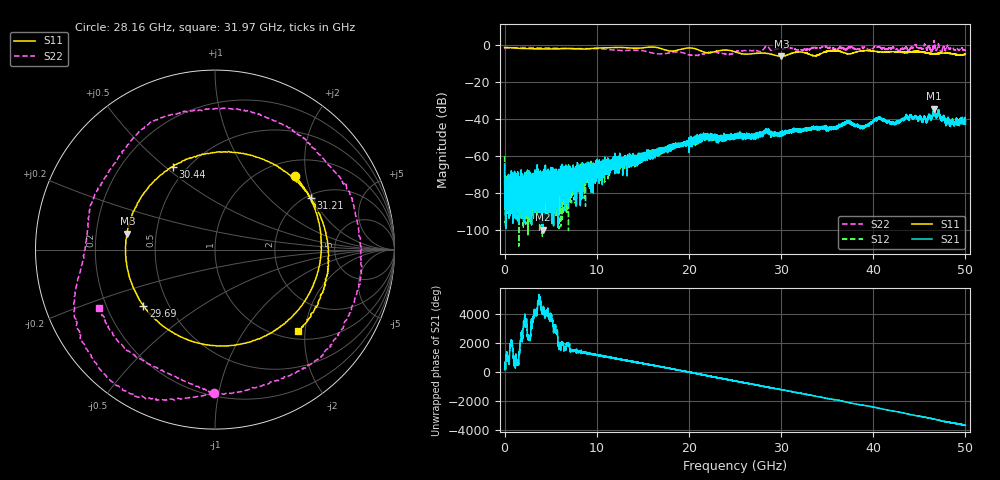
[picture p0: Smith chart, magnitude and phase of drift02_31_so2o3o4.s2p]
!Created with skrf (http://scikit-rf.org).
# Hz S RI R 50.0
!freq ReS11 ImS11 ReS21 ImS21 ReS12 ImS12 ReS22 ImS22
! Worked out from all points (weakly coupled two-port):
!   10001 points, 300 kHz to 50 GHz, reference 50 ohm
!   highest |S21| = -34.29 dB at 46.58 GHz (marker M1); lowest = -99.6 dB at 4.155 GHz (marker M2)
!   lowest |S11| = -6.1 dB at 30.04 GHz (marker M3), VSWR 2.97, Z = 16.9 + j4.02 ohm
!   |S11| at or under -10 dB: nowhere
!   |S22| runs from -5.7 to 2.5 dB; largest |S21 - S12| = 0.003
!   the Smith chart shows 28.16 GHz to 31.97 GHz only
!   S11 on the Smith chart (normalised r, x): 28.16 GHz: 1.34, +1.73; 29.69 GHz: 0.36, -0.30; 30.44 GHz: 0.42, +0.53; 31.21 GHz: 2.10, +1.92; 31.97 GHz: 1.17, -1.83
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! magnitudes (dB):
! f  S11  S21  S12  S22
! 300 kHz  -1.3  -64.1  -60.0  -2.1
! 310.3 MHz  -1.3  -85.8  -79.9  -1.4
! 4.155 GHz  -2.0  -99.6  -75.5  -1.6
! 8.335 GHz  -2.2  -69.5  -68.4  -1.9
! 16.67 GHz  -1.5  -56.2  -57.7  -4.7
! 21.46 GHz  -3.5  -50.5  -48.1  -4.8
! 25 GHz  -3.7  -49.8  -49.0  -3.9
! 28.16 GHz  -4.4  -47.2  -46.9  -1.9
! 29.69 GHz  -5.9  -48.4  -48.6  -2.1
! 30.04 GHz  -6.1  -48.7  -47.7  -2.0
! 30.44 GHz  -5.7  -48.3  -46.8  -1.8
! 31.21 GHz  -4.3  -47.0  -45.9  -1.8
! 31.97 GHz  -3.8  -45.9  -46.0  -2.8
! 33.34 GHz  -5.5  -44.4  -45.1  -1.6
! 35.59 GHz  -3.0  -44.9  -44.8  -1.6
! 37.29 GHz  -4.8  -41.7  -41.2  -1.4
! 38.85 GHz  -3.0  -44.1  -44.3  -1.4
! 40.67 GHz  -3.6  -39.5  -39.5  -0.9
! 41.67 GHz  -3.6  -41.3  -41.3  -1.8
! 46.58 GHz  -4.7  -34.3  -35.1  1.4
! 48.13 GHz  -4.5  -40.4  -40.4  -0.6
! 50 GHz  -4.9  -42.6  -39.9  -2.7
